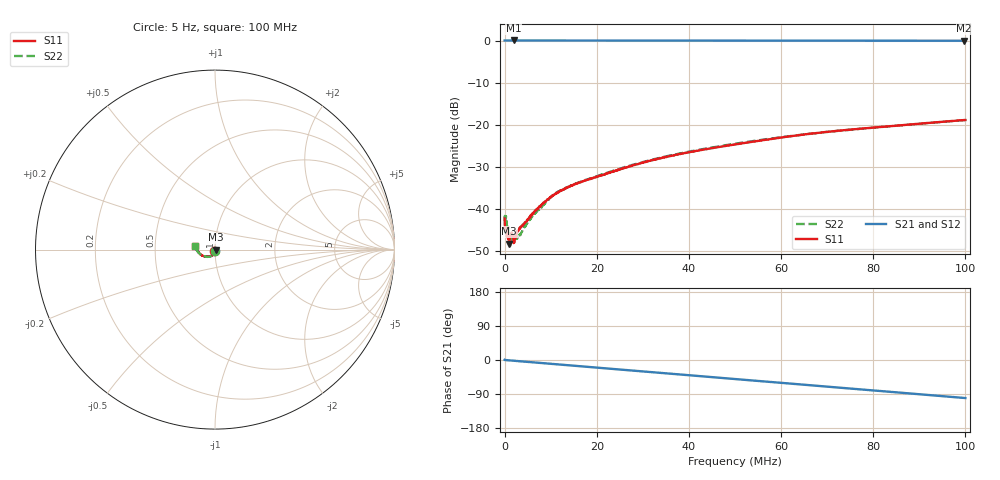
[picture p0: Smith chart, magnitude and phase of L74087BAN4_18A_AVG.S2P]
!Agilent Technologies,E5061B,MY49102235,A.02.00
!Date: Tue Jul 11 16:22:19 2023
!Data & Calibration Information:
!Freq	S11:SOLT2(ON)	S21:SOLT2(ON)	S12:SOLT2(ON)	S22:SOLT2(ON)
# Hz S RI R 50
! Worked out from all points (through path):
!   1600 points, 5 Hz to 100 MHz, reference 50 ohm
!   highest |S21| = 0.02 dB at 1.939 MHz (marker M1); lowest = -0.1 dB at 99.75 MHz (marker M2)
!   group delay of S21, straight-line fit = 2.79 ns
!   lowest |S11| = -48.3 dB at 1.001 MHz (marker M3), VSWR 1.01, Z = 50.4 - j0.0781 ohm
!   |S11| at or under -10 dB: start of sweep to end of sweep
!   |S22| runs from -48.9 to -18.9 dB; largest |S21 - S12| = 0.0025
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5  -0.00513 -0.00565  1.002 0.00806  1 0.0102  -0.00151 -0.00754
437778.6  0.00513 -0.000593  1.001 -0.00527  1.001 -0.00601  0.00663 -0.00224
625395.8  0.00511 -0.00062  1.002 -0.0104  1.002 -0.0101  0.0061 -0.001
1000630  0.00378 -0.000776  1.001 -0.0163  1.001 -0.016  0.00516 -0.00168
1563482  0.00435 -0.00289  1.001 -0.0262  1.001 -0.0254  0.00315 -0.00346
1938717  0.00314 -0.00232  1.002 -0.0336  1.002 -0.0331  0.00343 -0.00204
2376490  0.00331 -0.00297  0.9997 -0.0412  1 -0.0416  0.00395 -0.00263
3252037  0.00425 -0.00415  0.9993 -0.0567  0.9993 -0.0566  0.00314 -0.00365
6003757  0.00335 -0.0078  0.9954 -0.1047  0.9955 -0.1046  0.00286 -0.00761
9505946  0.00153 -0.0129  0.9871 -0.1659  0.9873 -0.1657  0.000847 -0.0129
1.156974e7  5.58e-05 -0.0158  0.9806 -0.2013  0.9804 -0.2011  -0.000922 -0.0159
1.669794e7  -0.00376 -0.0206  0.9579 -0.2885  0.9579 -0.2882  -0.00423 -0.0207
2.582865e7  -0.0109 -0.0282  0.8999 -0.4374  0.8997 -0.4374  -0.00891 -0.0295
3.333334e7  -0.0196 -0.0341  0.8342 -0.5515  0.8341 -0.5513  -0.0184 -0.0353
4.033771e7  -0.0287 -0.0377  0.7601 -0.6492  0.7601 -0.649  -0.0285 -0.0388
5.003127e7  -0.0427 -0.0393  0.6391 -0.7682  0.639 -0.768  -0.0432 -0.0404
6.672921e7  -0.0714 -0.0329  0.3895 -0.9185  0.3898 -0.9187  -0.0707 -0.0334
7.53596e7  -0.0844 -0.0236  0.2467 -0.9658  0.2469 -0.9658  -0.0838 -0.0245
8.33646e7  -0.0948 -0.0113  0.1095 -0.9902  0.1094 -0.9904  -0.0944 -0.0133
9.155722e7  -0.1042 0.00344  -0.0334 -0.9946  -0.0335 -0.9947  -0.1043 0.000293
9.974984e7  -0.1116 0.0199  -0.1751 -0.9785  -0.1749 -0.9788  -0.1115 0.0171
1e8  -0.1117 0.0204  -0.1794 -0.9779  -0.1793 -0.9781  -0.1119 0.0177
